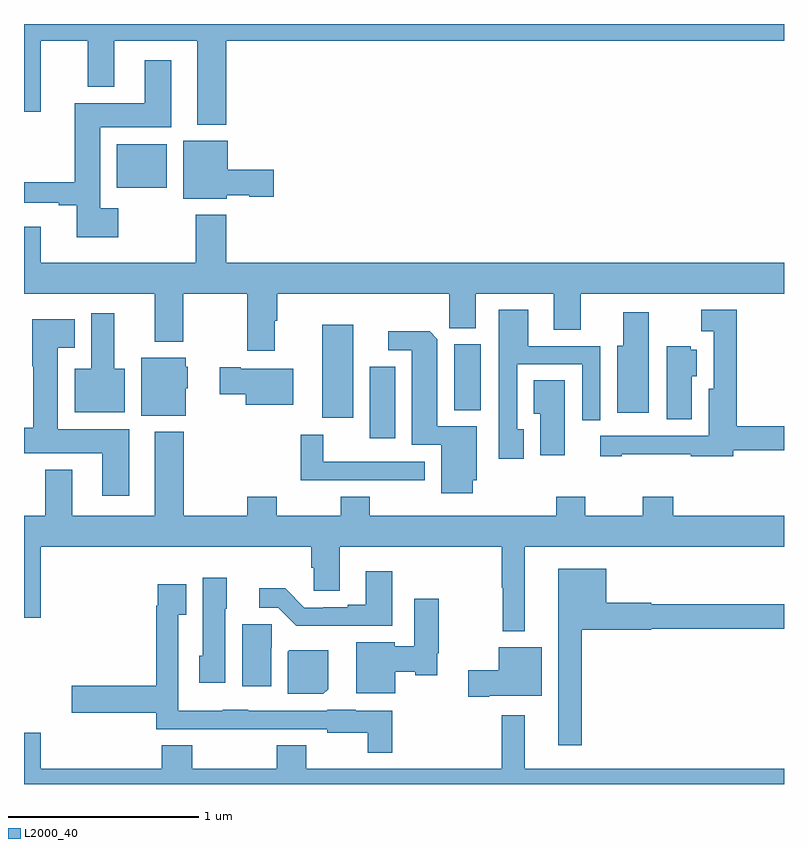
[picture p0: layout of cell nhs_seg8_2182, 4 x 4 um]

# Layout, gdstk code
import gdstk
lib = gdstk.Library(unit=1e-6, precision=1e-09)
def R(c, l, rs):  # rectangles x0, y0, x1, y1
    for r in rs: c.add(gdstk.rectangle(r[:2], r[2:], *l))
def P(c, l, *ps):  # polygons
    for p in ps: c.add(gdstk.Polygon(p, *l))
L2000_40 = (2000, 40)

nhs_seg8_2182 = lib.new_cell('nhs_seg8_2182')
R(nhs_seg8_2182, L2000_40, [(250.82,1135.719,250.954,1136.095), (250.571,1135.827,250.732,1136.317), (251.264,1135.868,251.404,1136.214), (249.488,1137.038,249.751,1137.268)])
P(nhs_seg8_2182, L2000_40, [(250.064,1137.812),(253,1137.812),(253,1137.9),(249,1137.9),(249,1137.438),(249.088,1137.438),(249.088,1137.812),(249.335,1137.812),(249.335,1137.569),(249.475,1137.569),(249.475,1137.812),(249.911,1137.812),(249.911,1137.371),(250.064,1137.371)],
  [(249.496,1136.929),(249.4,1136.929),(249.4,1137.356),(249.775,1137.356),(249.775,1137.709),(249.635,1137.709),(249.635,1137.484),(249.266,1137.484),(249.266,1137.067),(249,1137.067),(249,1136.958),(249.182,1136.958),(249.182,1136.946),(249.278,1136.946),(249.278,1136.777),(249.496,1136.777)],
  [(250.068,1136.999),(250.185,1136.999),(250.185,1136.992),(250.315,1136.992),(250.315,1137.134),(250.072,1137.134),(250.072,1137.286),(249.839,1137.286),(249.839,1136.981),(250.068,1136.981)],
  [(250.321,1136.339),(250.334,1136.339),(250.334,1136.48),(251.239,1136.48),(251.239,1136.299),(251.377,1136.299),(251.377,1136.48),(251.789,1136.48),(251.789,1136.29),(251.929,1136.29),(251.929,1136.48),(253,1136.48),(253,1136.644),(250.064,1136.644),(250.064,1136.896),(249.904,1136.896),(249.904,1136.644),(249.088,1136.644),(249.088,1136.833),(249,1136.833),(249,1136.48),(249.689,1136.48),(249.689,1136.228),(249.837,1136.228),(249.837,1136.48),(250.174,1136.48),(250.174,1136.181),(250.321,1136.181)],
  [(252.145,1135.636),(252.509,1135.636),(252.509,1135.626),(252.733,1135.626),(252.733,1135.656),(253,1135.656),(253,1135.784),(252.751,1135.784),(252.751,1136.395),(252.564,1136.395),(252.564,1136.282),(252.629,1136.282),(252.629,1135.98),(252.605,1135.98),(252.605,1135.734),(252.033,1135.734),(252.033,1135.626),(252.145,1135.626)],
  [(251.629,1135.767),(251.595,1135.767),(251.595,1136.109),(251.937,1136.109),(251.937,1135.815),(252.033,1135.815),(252.033,1136.205),(251.653,1136.205),(251.653,1136.395),(251.499,1136.395),(251.499,1135.611),(251.629,1135.611)],
  [(252.289,1136.383),(252.155,1136.383),(252.155,1136.206),(252.122,1136.206),(252.122,1135.854),(252.289,1135.854)],
  [(249.529,1136.086),(249.475,1136.086),(249.475,1136.377),(249.353,1136.377),(249.353,1136.086),(249.266,1136.086),(249.266,1135.856),(249.529,1135.856)],
  [(249.553,1135.768),(249.178,1135.768),(249.178,1136.195),(249.268,1136.195),(249.268,1136.347),(249.044,1136.347),(249.044,1136.099),(249.049,1136.099),(249.049,1135.775),(249,1135.775),(249,1135.64),(249.413,1135.64),(249.413,1135.416),(249.553,1135.416)],
  [(251.361,1135.499),(251.383,1135.499),(251.383,1135.782),(251.176,1135.782),(251.176,1136.24),(251.135,1136.282),(250.917,1136.282),(250.917,1136.184),(251.042,1136.184),(251.042,1135.686),(251.195,1135.686),(251.195,1135.431),(251.361,1135.431)],
  [(252.514,1136.046),(252.541,1136.046),(252.541,1136.186),(252.51,1136.186),(252.51,1136.203),(252.383,1136.203),(252.383,1135.819),(252.514,1135.819)],
  [(249.85,1135.983),(249.862,1135.983),(249.862,1136.097),(249.85,1136.097),(249.85,1136.143),(249.617,1136.143),(249.617,1135.838),(249.85,1135.838)],
  [(250.417,1136.086),(250.141,1136.086),(250.141,1136.094),(250.029,1136.094),(250.029,1135.952),(250.166,1135.952),(250.166,1135.895),(250.417,1135.895)],
  [(251.845,1136.024),(251.684,1136.024),(251.684,1135.85),(251.717,1135.85),(251.717,1135.629),(251.845,1135.629)],
  [(251.635,1135.148),(253,1135.148),(253,1135.312),(252.416,1135.312),(252.416,1135.411),(252.256,1135.411),(252.256,1135.312),(251.955,1135.312),(251.955,1135.411),(251.8,1135.411),(251.8,1135.312),(250.821,1135.312),(250.821,1135.411),(250.666,1135.411),(250.666,1135.312),(250.329,1135.312),(250.329,1135.411),(250.174,1135.411),(250.174,1135.312),(249.842,1135.312),(249.842,1135.753),(249.689,1135.753),(249.689,1135.312),(249.253,1135.312),(249.253,1135.555),(249.113,1135.555),(249.113,1135.312),(249,1135.312),(249,1134.774),(249.088,1134.774),(249.088,1135.148),(250.511,1135.148),(250.511,1135.038),(250.524,1135.038),(250.524,1134.916),(250.663,1134.916),(250.663,1135.148),(251.514,1135.148),(251.514,1134.932),(251.521,1134.932),(251.521,1134.704),(251.635,1134.704)],
  [(251.11,1135.596),(250.575,1135.596),(250.575,1135.738),(250.456,1135.738),(250.456,1135.5),(251.11,1135.5)],
  [(251.935,1134.713),(252.3,1134.713),(252.3,1134.718),(253,1134.718),(253,1134.847),(252.3,1134.847),(252.3,1134.855),(252.064,1134.855),(252.064,1135.033),(251.813,1135.033),(251.813,1134.105),(251.935,1134.105)],
  [(250.939,1135.021),(250.799,1135.021),(250.799,1134.844),(250.703,1134.844),(250.703,1134.831),(250.576,1134.831),(250.576,1134.828),(250.476,1134.828),(250.374,1134.931),(250.239,1134.931),(250.239,1134.828),(250.338,1134.828),(250.433,1134.734),(250.939,1134.734)],
  [(250.06,1134.822),(250.066,1134.822),(250.066,1134.985),(249.941,1134.985),(249.941,1134.576),(249.923,1134.576),(249.923,1134.432),(250.06,1134.432)],
  [(250.937,1134.286),(250.746,1134.286),(250.746,1134.292),(250.596,1134.292),(250.596,1134.285),(250.179,1134.285),(250.179,1134.292),(250.047,1134.292),(250.047,1134.286),(249.813,1134.286),(249.813,1134.791),(249.853,1134.791),(249.853,1134.952),(249.705,1134.952),(249.705,1134.839),(249.697,1134.839),(249.697,1134.416),(249.252,1134.416),(249.252,1134.274),(249.697,1134.274),(249.697,1134.189),(249.947,1134.189),(249.947,1134.188),(250.179,1134.188),(250.179,1134.189),(250.596,1134.189),(250.596,1134.17),(250.809,1134.17),(250.809,1134.065),(250.937,1134.065)],
  [(250.954,1134.491),(251.058,1134.491),(251.058,1134.473),(251.176,1134.473),(251.176,1134.589),(251.184,1134.589),(251.184,1134.874),(251.054,1134.874),(251.054,1134.625),(250.95,1134.625),(250.95,1134.646),(250.748,1134.646),(250.748,1134.377),(250.954,1134.377)],
  [(250.3,1134.618),(250.304,1134.618),(250.304,1134.741),(250.148,1134.741),(250.148,1134.414),(250.3,1134.414)],
  [(251.449,1134.365),(251.725,1134.365),(251.725,1134.619),(251.498,1134.619),(251.498,1134.5),(251.337,1134.5),(251.337,1134.358),(251.449,1134.358)],
  [(250.6,1134.4),(250.6,1134.604),(250.396,1134.604),(250.388,1134.596),(250.388,1134.374),(250.574,1134.374)],
  [(253,1133.98),(251.635,1133.98),(251.635,1134.262),(251.514,1134.262),(251.514,1133.98),(250.485,1133.98),(250.485,1134.104),(250.33,1134.104),(250.33,1133.98),(249.885,1133.98),(249.885,1134.104),(249.725,1134.104),(249.725,1133.98),(249.088,1133.98),(249.088,1134.169),(249,1134.169),(249,1133.9),(253,1133.9)])

lib.write_gds('nhs_seg8_2182.gds')
